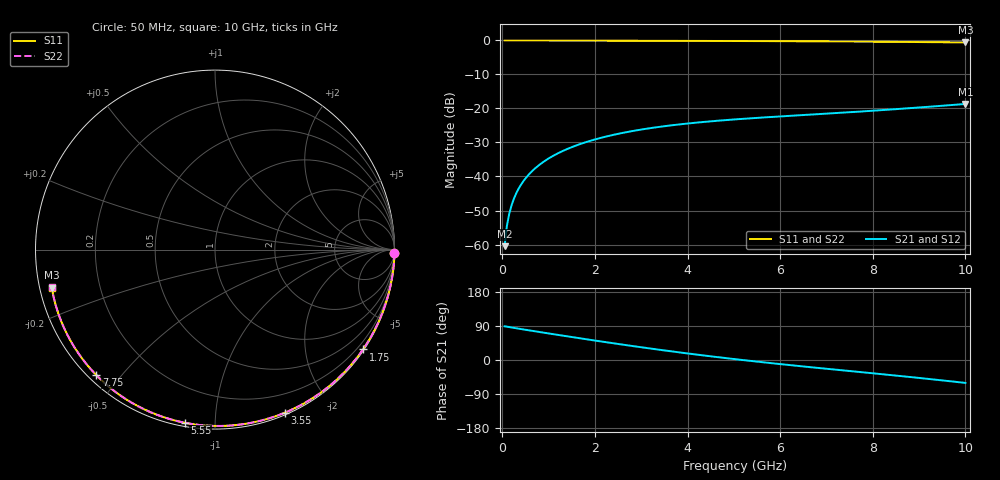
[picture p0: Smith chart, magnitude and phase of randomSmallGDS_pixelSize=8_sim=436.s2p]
! freq	dB(S11)	phase(S11)	dB(S12)	phase(S12)
!  dB(S21)	phase(S21)	dB(S22)	phase(S22)
!S-par simulation data
#  GHz  S  DB  R 50
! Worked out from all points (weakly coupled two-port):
!   200 points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, 50 MHz to 10 GHz, reference 50 ohm
!   highest |S21| = -18.67 dB at 10 GHz (marker M1); lowest = -60.5 dB at 50 MHz (marker M2)
!   lowest |S11| = -0.6 dB at 10 GHz (marker M3), VSWR 29.23, Z = 1.73 - j5.72 ohm
!   |S11| at or under -10 dB: nowhere
!   |S22| runs from -0.6 to 0.0 dB; largest |S21 - S12| = 0
!   S11 on the Smith chart (normalised r, x): 50 MHz: open; 1.75 GHz: 0.03, -3.27; 3.55 GHz: 0.02, -1.52; 5.55 GHz: 0.02, -0.84; 7.75 GHz: 0.02, -0.43; 10 GHz: 0.03, -0.11
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0.05  -0.00 -1.0  -60.49 88.9  -60.49 88.9  -0.00 -1.0
0.1  -0.00 -2.0  -54.47 87.9  -54.47 87.9  -0.00 -2.0
0.15  -0.00 -3.0  -50.95 86.8  -50.95 86.8  -0.00 -3.0
0.2  -0.00 -4.0  -48.46 85.8  -48.46 85.8  -0.00 -4.0
0.25  -0.00 -5.0  -46.54 84.8  -46.54 84.8  -0.00 -5.0
0.35  -0.01 -6.9  -43.64 82.7  -43.64 82.7  -0.01 -6.9
0.5  -0.01 -9.9  -40.58 79.8  -40.58 79.8  -0.01 -9.9
0.7  -0.02 -13.8  -37.71 75.8  -37.71 75.8  -0.02 -13.8
1  -0.03 -19.7  -34.70 70.1  -34.70 70.1  -0.03 -19.7
1.35  -0.04 -26.4  -32.22 63.4  -32.22 63.4  -0.04 -26.4
1.75  -0.05 -34.0  -30.14 55.9  -30.14 55.9  -0.05 -34.0
2.6  -0.07 -49.9  -27.18 40.5  -27.18 40.5  -0.07 -49.9
3.4  -0.10 -64.2  -25.39 26.9  -25.39 26.9  -0.10 -64.2
3.55  -0.10 -66.8  -25.12 24.4  -25.12 24.4  -0.10 -66.8
4.3  -0.13 -79.7  -24.02 12.7  -24.02 12.7  -0.13 -79.7
5.05  -0.16 -92.0  -23.19 1.8  -23.19 1.8  -0.16 -92.0
5.55  -0.18 -100.0  -22.72 -5.0  -22.72 -5.0  -0.18 -100.0
6.7  -0.25 -117.7  -21.77 -19.5  -21.77 -19.5  -0.25 -117.7
7.75  -0.33 -133.3  -20.89 -32.1  -20.89 -32.1  -0.33 -133.4
8.35  -0.39 -142.2  -20.34 -39.2  -20.34 -39.2  -0.39 -142.2
9.2  -0.49 -154.8  -19.51 -49.9  -19.51 -49.9  -0.49 -154.9
10  -0.59 -166.9  -18.67 -60.5  -18.67 -60.5  -0.59 -167.0
